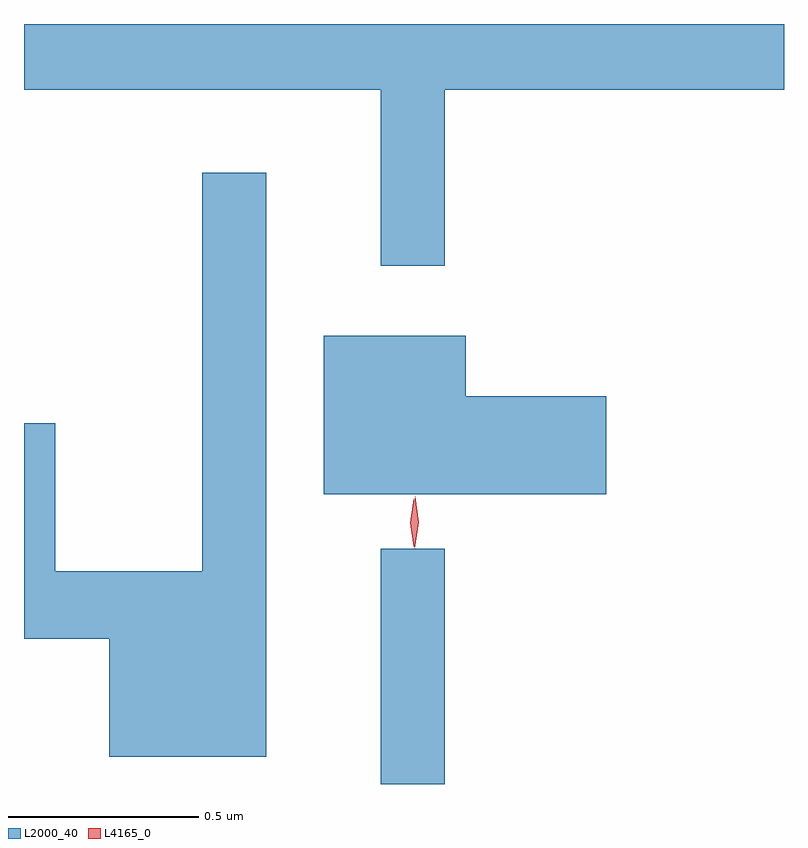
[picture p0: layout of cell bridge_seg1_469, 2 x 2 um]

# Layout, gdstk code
import gdstk
lib = gdstk.Library(unit=1e-6, precision=1e-09)
def R(c, l, rs):  # rectangles x0, y0, x1, y1
    for r in rs: c.add(gdstk.rectangle(r[:2], r[2:], *l))
def P(c, l, *ps):  # polygons
    for p in ps: c.add(gdstk.Polygon(p, *l))
L2000_40 = (2000, 40)
L4165_0 = (4165, 0)

bridge_seg1_469 = lib.new_cell('bridge_seg1_469')
R(bridge_seg1_469, L2000_40, [(207.501,902.189,207.669,902.808)])
P(bridge_seg1_469, L2000_40, [(207.669,904.016),(208.562,904.016),(208.562,904.189),(206.562,904.189),(206.562,904.016),(207.501,904.016),(207.501,903.553),(207.669,903.553)],
  [(207.199,903.798),(207.031,903.798),(207.031,902.749),(206.644,902.749),(206.644,903.139),(206.562,903.139),(206.562,902.571),(206.786,902.571),(206.786,902.261),(207.199,902.261)],
  [(208.094,903.209),(207.724,903.209),(207.724,903.369),(207.351,903.369),(207.351,902.951),(208.094,902.951)])
P(bridge_seg1_469, L4165_0, [(207.587,902.813),(207.587,902.813),(207.578,902.876),(207.587,902.94),(207.587,902.94),(207.588,902.94),(207.597,902.876),(207.588,902.813)],
  [(207.59,902.81),(207.59,902.81),(207.581,902.878),(207.591,902.945),(207.592,902.946),(207.592,902.945),(207.601,902.878),(207.59,902.81)])

lib.write_gds('bridge_seg1_469.gds')
